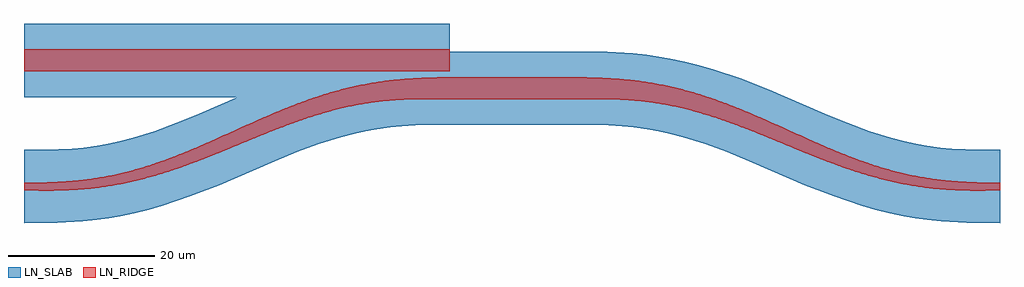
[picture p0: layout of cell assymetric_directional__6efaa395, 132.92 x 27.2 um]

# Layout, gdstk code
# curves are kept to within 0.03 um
from math import pi, radians
import gdstk
lib = gdstk.Library(unit=1e-6, precision=1e-09)
def R(c, l, rs):  # rectangles x0, y0, x1, y1
    for r in rs: c.add(gdstk.rectangle(r[:2], r[2:], *l))
def P(c, l, *ps):  # polygons
    for p in ps: c.add(gdstk.Polygon(p, *l))
LN_RIDGE = (2, 0)
LN_SLAB = (3, 0)

bend_s_spline_varying_w_ = lib.new_cell('bend_S_spline_varying_w_99744759')
P(bend_s_spline_varying_w_, LN_RIDGE, [(0,-1.5),(0,1.5),(4.587,1.482),(6.571,1.556),(8.548,1.703),(10.524,1.935),(12.22,2.206),(13.919,2.545),(15.623,2.952),(18.762,3.861),(22.213,5.062),(25.398,6.303),(32.998,9.408),(36.53,10.736),(40.368,11.973),(42.142,12.452),(43.915,12.865),(47.164,13.44),(50.405,13.783),(53.631,13.922),(58,13.9),(58,12.9),(54.82,12.827),(52.807,12.729),(51.087,12.594),(49.087,12.365),(47.091,12.048),(45.098,11.64),(43.107,11.139),(41.116,10.548),(37.985,9.455),(35.132,8.315),(25.353,3.973),(21.86,2.515),(18.342,1.225),(15.094,0.244),(13.314,-0.197),(11.531,-0.567),(8.256,-1.063),(6.472,-1.241),(4.398,-1.377)])
P(bend_s_spline_varying_w_, LN_SLAB, [(0,-5),(0,5),(4.72,5.068),(6.575,5.177),(8.14,5.325),(9.952,5.57),(11.502,5.845),(13.056,6.182),(14.884,6.657),(17.804,7.574),(20.794,8.679),(23.863,9.935),(31.438,13.176),(35.394,14.73),(39.139,15.996),(41.04,16.543),(42.957,17.023),(44.883,17.429),(46.492,17.709),(50.018,18.141),(53.483,18.347),(58,18.4),(58,8.4),(53.28,8.332),(51.425,8.223),(49.86,8.075),(48.048,7.83),(46.498,7.555),(44.944,7.218),(43.116,6.743),(40.196,5.826),(37.206,4.721),(34.137,3.465),(26.562,0.224),(22.606,-1.33),(18.861,-2.596),(16.96,-3.143),(15.043,-3.623),(13.117,-4.029),(11.508,-4.309),(7.982,-4.741),(4.517,-4.947)])

straight_l16p92_n2_csxs_ = lib.new_cell('straight_L16p92_N2_CSxs_12677d9c')
R(straight_l16p92_n2_csxs_, LN_RIDGE, [(0,-1.5,16.92,1.5)])
R(straight_l16p92_n2_csxs_, LN_SLAB, [(0,-5,16.92,5)])

straight_l58_n2_csxs_66_ = lib.new_cell('straight_L58_N2_CSxs_66_e672fc3a')
R(straight_l58_n2_csxs_66_, LN_RIDGE, [(0,-1.5,58,1.5)])
R(straight_l58_n2_csxs_66_, LN_SLAB, [(0,-5,58,5)])

assymetric_directional__ = lib.new_cell('assymetric_directional__6efaa395')
assymetric_directional__.add(gdstk.Reference(bend_s_spline_varying_w_, (-8.46,-1.9), rotation=pi))
assymetric_directional__.add(gdstk.Reference(straight_l16p92_n2_csxs_, (-8.46,-1.9)))
assymetric_directional__.add(gdstk.Reference(bend_s_spline_varying_w_, (8.46,-1.9), x_reflection=True))
assymetric_directional__.add(gdstk.Reference(straight_l58_n2_csxs_66_, (-66.46,1.9)))

lib.write_gds('assymetric_directional__6efaa395.gds')
